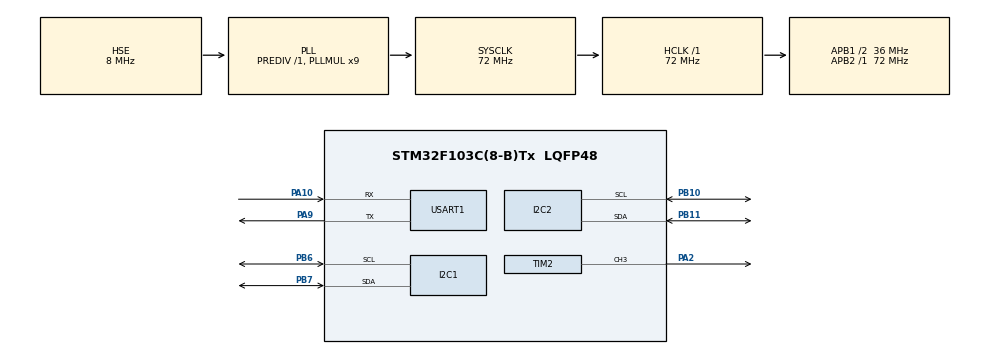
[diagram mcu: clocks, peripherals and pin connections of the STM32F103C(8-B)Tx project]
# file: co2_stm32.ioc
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Mcu.Family=STM32F1
Mcu.Name=STM32F103C(8-B)Tx
Mcu.Package=LQFP48
NVIC.PriorityGroup=NVIC_PRIORITYGROUP_4
PA10.Mode=Asynchronous
PA10.Signal=USART1_RX
PA13.Mode=Serial_Wire
PA13.Signal=SYS_JTMS-SWDIO
PA14.Mode=Serial_Wire
PA14.Signal=SYS_JTCK-SWCLK
PA2.Signal=S_TIM2_CH3
PA9.Mode=Asynchronous
PA9.Signal=USART1_TX
PB10.Mode=I2C
PB10.Signal=I2C2_SCL
PB11.Mode=I2C
PB11.Signal=I2C2_SDA
PB6.Mode=I2C
PB6.Signal=I2C1_SCL
PB7.Mode=I2C
PB7.Signal=I2C1_SDA
PD0-OSC_IN.Mode=HSE-External-Oscillator
PD0-OSC_IN.Signal=RCC_OSC_IN
PD1-OSC_OUT.Mode=HSE-External-Oscillator
PD1-OSC_OUT.Signal=RCC_OSC_OUT
ProjectManager.HeapSize=0x200
ProjectManager.StackSize=0x400
ProjectManager.TargetToolchain=STM32CubeIDE
RCC.AHBFreq_Value=72000000
RCC.APB1CLKDivider=RCC_HCLK_DIV2
RCC.APB1Freq_Value=36000000
RCC.APB1TimFreq_Value=72000000
RCC.APB2Freq_Value=72000000
RCC.APB2TimFreq_Value=72000000
RCC.HCLKFreq_Value=72000000
RCC.PLLMUL=RCC_PLL_MUL9
RCC.PLLSourceVirtual=RCC_PLLSOURCE_HSE
RCC.SYSCLKFreq_VALUE=72000000
RCC.SYSCLKSource=RCC_SYSCLKSOURCE_PLLCLK
RCC.USBFreq_Value=72000000
SH.S_TIM2_CH3.0=TIM2_CH3,PWM Generation3 CH3
TIM2.Channel-PWM\ Generation3\ CH3=TIM_CHANNEL_3
TIM2.Period=499
TIM2.Prescaler=71
TIM2.Pulse-PWM\ Generation3\ CH3=250
USART1.VirtualMode=VM_ASYNC
VP_TIM2_VS_ClockSourceINT.Mode=Internal
board=custom

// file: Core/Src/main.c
/* USER CODE BEGIN Header */
/**
  ******************************************************************************
  * @file           : main.c
  * @brief          : Main program body
  ******************************************************************************
  * @attention
  *
  * Copyright (c) 2026 STMicroelectronics.
  * All rights reserved.
  *
  * This software is licensed under terms that can be found in the LICENSE file
  * in the root directory of this software component.
  * If no LICENSE file comes with this software, it is provided AS-IS.
  *
  ******************************************************************************
  */
/* USER CODE END Header */
#include "main.h"
#include "i2c.h"
#include "tim.h"
#include "usart.h"
#include "gpio.h"

/* USER CODE BEGIN Includes */
#include <string.h>
#include "app_config.h"
#include "app_settings.h"
#include "scd41.h"
#include "rtc_ds3231.h"
#include "buzzer.h"
#include "alert_fsm.h"
#include "quiet_hours.h"
#include "esp_link.h"
#include "clock_fallback.h"
/* USER CODE END Includes */

/* USER CODE BEGIN PV */
/** g_settings — живые пороги/тихие часы/tz в RAM. Пишет settings_load и esp_link_poll, читает суперцикл и alert_fsm. */
static app_settings_t g_settings;
/** g_last_measure — HAL_GetTick последнего опроса SCD41. Пишет суперцикл, читает он же (период 5 с). */
static uint32_t g_last_measure;
/** g_last_telem — HAL_GetTick последней JSON-строки на ESP32. Пишет/читает суперцикл. */
static uint32_t g_last_telem;
/** g_last_rtc — HAL_GetTick последнего ds3231_read. Пишет/читает суперцикл (не чаще 1 Гц). */
static uint32_t g_last_rtc;
/** g_co2 — последние удачные ppm. Пишет scd41_read-ветка, читает телеметрия. */
static uint16_t g_co2;
/** g_temp_x10 — десятые °C (231 = 23.1). Пишет scd41_read-ветка, читает телеметрия. */
static int16_t g_temp_x10;
/** g_rh — последняя влажность %. Пишет scd41_read-ветка, читает телеметрия. */
static uint8_t g_rh;
/** g_alert — 0/1/2 для JSON (warmup снаружи = 0). Пишет alert_fsm_update, читает телеметрия и process_sound. */
static alert_level_t g_alert;
/** g_rtc — последний снимок DS3231. Пишет ds3231_read раз в секунду, читают quiet_hours и телеметрия. */
static rtc_time_t g_rtc;
/** g_have_sample — true после первого удачного SCD41. Пишет суперцикл; сейчас только флаг «есть чем кормить JSON». */
static bool g_have_sample;
/* USER CODE END PV */

void SystemClock_Config(void);

/* USER CODE BEGIN 0 */
/*
 * main() — единственная «задача» STM32 (RTOS нет).
 *
 * Сначала CubeMX включает железо: GPIO, I2C1 (SCD41), I2C2 (DS3231),
 * TIM2 PWM на PA2 (зуммер), USART1 115200 на PA9/PA10 (ESP32).
 * Затем мы грузим настройки из flash и входим в while(1):
 *   1) забрать JSON с ESP32 (mute / beep / FRC / пороги / время);
 *   2) раз в 5 с прочитать SCD41 и обновить уровень тревоги;
 *   3) при необходимости поставить писк (сам PWM гасит buzzer_poll);
 *   4) телеметрия: 1 с первые 20 с, затем раз в 5 с (ESP32 мог пропустить boot).
 *
 * HAL_GetTick() — миллисекунды от SysTick, общий метроном периодов и mute.
 * Никогда не вызывайте scd41_frc_calibrate и длинный beep из UART-IRQ:
 * там HAL_Delay и I2C, это сломает приём байт.
 */
/* USER CODE END 0 */

int main(void)
{

  /* MCU Configuration--------------------------------------------------------*/

  /* Reset of all peripherals, Initializes the Flash interface and the Systick. */
  HAL_Init();

  /* Configure the system clock */
  SystemClock_Config();

  /* Initialize all configured peripherals */
  MX_GPIO_Init();
  MX_I2C1_Init();
  MX_I2C2_Init();
  MX_TIM2_Init();
  MX_USART1_UART_Init();
  /* USER CODE BEGIN 2 */
  /* Печать в тот же USART1, что и JSON: в мониторе сразу видно, что прошивка жива. */
  {
    const char boot[] = "STM32 boot\r\n";
    HAL_UART_Transmit(&huart1, (uint8_t *)boot, sizeof(boot) - 1u, 100);
  }
  settings_load(&g_settings);   /* пороги/тихие часы с последней страницы flash */
  buzzer_init();                /* PWM на PA2, скважность 0 = тишина */
  (void)ds3231_init();          /* false не фатален: quiet_hours тогда не глушит день */
  (void)scd41_init();           /* false — измерения будут пустые, цикл всё равно крутится */
  alert_fsm_init();             /* 60 с warmup: в JSON alert=0, звука по порогам нет */
  esp_link_init();              /* запускает приём 1 байта в прерывании USART1 */
  g_last_measure = 0;           /* 0 = «ещё не мерили» → первый опрос сразу */
  g_last_telem = 0;
  g_last_rtc = 0;
  g_co2 = 0;
  g_temp_x10 = 0;
  g_rh = 0;
  g_alert = ALERT_NORMAL;
  g_have_sample = false;
  memset(&g_rtc, 0, sizeof(g_rtc));
  /* USER CODE END 2 */

  /* Infinite loop */
  while (1)
  {

    /* USER CODE BEGIN 3 */
    /*
     * Один оборот суперцикла. Порядок важен:
     * сначала команды с веба (калибровка/beep), потом измерение и звук.
     * Телеметрию шлём даже если SCD41 не ответил — ESP32 рисует прошлые ppm.
     */
    {
      uint32_t now = HAL_GetTick();
      bool quiet;
      bool sound_ok;
      /** last_led — HAL_GetTick последнего Toggle PC13. Пишет/читает этот оборот суперцикла. */
      static uint32_t last_led;
      /** last_hello — HAL_GetTick последнего «STM32 boot». Пишет/читает этот оборот. */
      static uint32_t last_hello;

      /* Раз в 0.5 с моргнуть PC13: не мигает → STM32 не в суперцикле (BOOT0 / не прошит / Error_Handler). */
      if (last_led == 0u || (now - last_led) >= 500u) {
        last_led = now;
        HAL_GPIO_TogglePin(GPIOC, GPIO_PIN_13);
      }

      /* Первые 8 с чаще шлём hello: ESP32 мог ещё быть в WiFiManager и пропустить boot. */
      if (now < 8000u && (last_hello == 0u || (now - last_hello) >= 250u)) {
        last_hello = now;
        esp_link_send_hello();
      }

      /* Разобрать одну готовую JSON-строку от ESP32 (настройки или "cmd"). */
      esp_link_poll(&g_settings);

      /* beep/FRC нельзя делать в IRQ UART — флаги снимаем здесь. */
      if (esp_link_take_beep()) {
        buzzer_test_beep(TEST_BEEP_MS); /* тест с HTML, игнор quiet/mute */
      }
      if (esp_link_take_frc()) {
        (void)scd41_frc_calibrate(400); /* «считай этот воздух за 400 ppm» */
        alert_fsm_reset_warmup();       /* снова 60 с без тревоги по порогам */
      }

      /* I2C2 раз в секунду: каждый оборот while(1) только убивает шину и DS3231. */
      if (g_last_rtc == 0u || (now - g_last_rtc) >= 1000u) {
        g_last_rtc = now;
        (void)ds3231_read(&g_rtc);
      }
      /* На LCD «тихо» = ночь или mute. Звук режется только ночью/mute/alerts off. */
      quiet = quiet_hours_active(&g_settings, &g_rtc)
           || alert_fsm_muted(now);
      sound_ok = alert_fsm_sound_allowed(&g_settings, quiet_hours_active(&g_settings, &g_rtc), now);

      if (g_last_measure == 0u || (now - g_last_measure) >= MEASURE_PERIOD_MS) {
        uint16_t co2;
        int16_t tx10;
        uint8_t rh;
        g_last_measure = now;
        if (scd41_read(&co2, &tx10, &rh)) {
          g_co2 = co2;
          g_temp_x10 = tx10;
          g_rh = rh;
          g_have_sample = true;
          g_alert = alert_fsm_update(co2, &g_settings, now);
        }
        /* Если SCD41 не готов — оставляем прошлые g_co2 и шлём их дальше. */
      }

      alert_fsm_process_sound(g_alert, sound_ok, now); /* ставит паттерн, не блокирует */
      buzzer_poll(); /* выключает PWM по таймеру; тройной alarm идёт отсюда */

      if (g_last_telem == 0u || (now - g_last_telem) >= ((now < 20000u) ? 1000u : TELEMETRY_PERIOD_MS)) {
        g_last_telem = now;
        esp_link_send_telemetry(g_co2, g_temp_x10, g_rh, g_alert, quiet, &g_rtc);
      }
    }
  }
  /* USER CODE END 3 */
}

void SystemClock_Config(void)
{
  RCC_OscInitTypeDef RCC_OscInitStruct = {0};
  RCC_ClkInitTypeDef RCC_ClkInitStruct = {0};

  /** Initializes the RCC Oscillators according to the specified parameters
  * in the RCC_OscInitTypeDef structure.
  */
  RCC_OscInitStruct.OscillatorType = RCC_OSCILLATORTYPE_HSE;
  RCC_OscInitStruct.HSEState = RCC_HSE_ON;
  RCC_OscInitStruct.HSEPredivValue = RCC_HSE_PREDIV_DIV1;
  RCC_OscInitStruct.HSIState = RCC_HSI_ON;
  RCC_OscInitStruct.PLL.PLLState = RCC_PLL_ON;
  RCC_OscInitStruct.PLL.PLLSource = RCC_PLLSOURCE_HSE;
  RCC_OscInitStruct.PLL.PLLMUL = RCC_PLL_MUL9;
  if (HAL_RCC_OscConfig(&RCC_OscInitStruct) != HAL_OK)
  {
    /* HSE часто мёртвый. Тело fallback в clock_fallback.c (Generate не сотрёт). */
    if (!clock_try_hsi_pll())
    {
      Error_Handler();
    }
  }

  /** Initializes the CPU, AHB and APB buses clocks
  */
  RCC_ClkInitStruct.ClockType = RCC_CLOCKTYPE_HCLK|RCC_CLOCKTYPE_SYSCLK
                              |RCC_CLOCKTYPE_PCLK1|RCC_CLOCKTYPE_PCLK2;
  RCC_ClkInitStruct.SYSCLKSource = RCC_SYSCLKSOURCE_PLLCLK;
  RCC_ClkInitStruct.AHBCLKDivider = RCC_SYSCLK_DIV1;
  RCC_ClkInitStruct.APB1CLKDivider = RCC_HCLK_DIV2;
  RCC_ClkInitStruct.APB2CLKDivider = RCC_HCLK_DIV1;

  if (HAL_RCC_ClockConfig(&RCC_ClkInitStruct, FLASH_LATENCY_2) != HAL_OK)
  {
    Error_Handler();
  }
}

/* USER CODE BEGIN 4 */
/* После CubeMX Generate снова заменить Error_Handler() после OscConfig на clock_try_hsi_pll(). */
/* USER CODE END 4 */

void Error_Handler(void)
{
  /* USER CODE BEGIN Error_Handler_Debug */
  /* Быстрое мигание PC13: прошивка дошла до фатальной ошибки, не до суперцикла. */
  __disable_irq();
  __HAL_RCC_GPIOC_CLK_ENABLE();
  {
    GPIO_InitTypeDef led = {0};
    led.Pin = GPIO_PIN_13;
    led.Mode = GPIO_MODE_OUTPUT_PP;
    led.Speed = GPIO_SPEED_FREQ_LOW;
    HAL_GPIO_Init(GPIOC, &led);
  }
  while (1)
  {
    HAL_GPIO_TogglePin(GPIOC, GPIO_PIN_13);
    for (volatile uint32_t i = 0; i < 200000u; i++) {
    }
  }
  /* USER CODE END Error_Handler_Debug */
}
